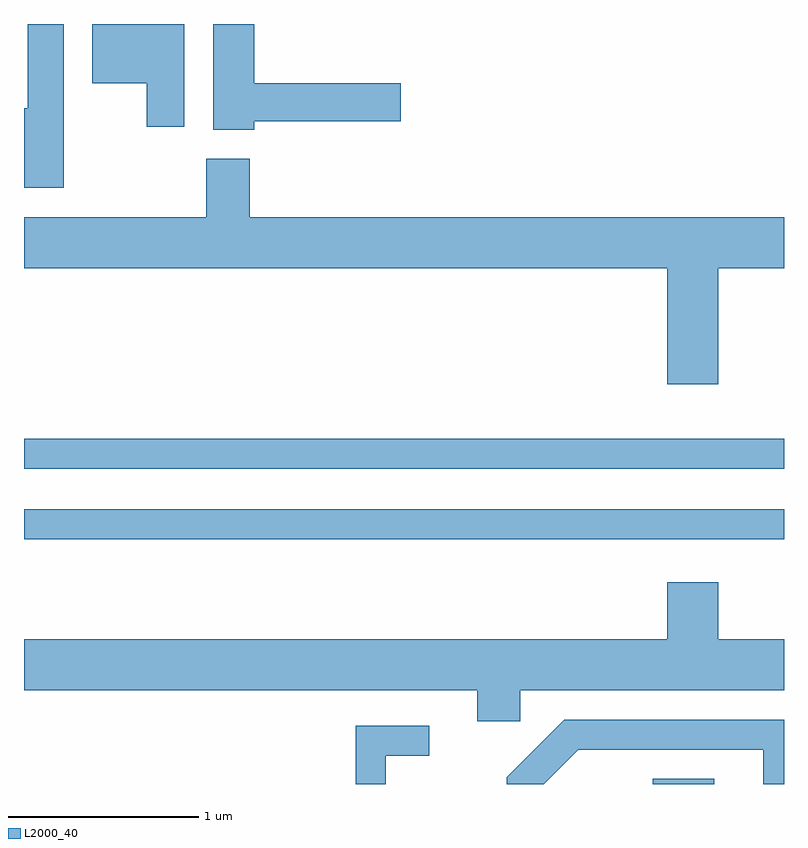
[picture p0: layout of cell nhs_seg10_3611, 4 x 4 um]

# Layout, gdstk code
import gdstk
lib = gdstk.Library(unit=1e-6, precision=1e-09)
def R(c, l, rs):  # rectangles x0, y0, x1, y1
    for r in rs: c.add(gdstk.rectangle(r[:2], r[2:], *l))
def P(c, l, *ps):  # polygons
    for p in ps: c.add(gdstk.Polygon(p, *l))
L2000_40 = (2000, 40)

nhs_seg10_3611 = lib.new_cell('nhs_seg10_3611')
R(nhs_seg10_3611, L2000_40, [(294.921,2124.522,295.243,2124.549), (291.611,2125.811,295.611,2125.969), (291.611,2126.181,295.611,2126.339)])
P(nhs_seg10_3611, L2000_40, [(292.454,2128.522),(291.971,2128.522),(291.971,2128.211),(292.256,2128.211),(292.256,2127.981),(292.454,2127.981)],
  [(291.819,2128.522),(291.631,2128.522),(291.631,2128.079),(291.611,2128.079),(291.611,2127.661),(291.819,2127.661)],
  [(292.824,2128.011),(293.594,2128.011),(293.594,2128.209),(292.824,2128.209),(292.824,2128.522),(292.606,2128.522),(292.606,2127.966),(292.824,2127.966)],
  [(295.264,2127.236),(295.611,2127.236),(295.611,2127.504),(292.799,2127.504),(292.799,2127.814),(292.571,2127.814),(292.571,2127.504),(291.611,2127.504),(291.611,2127.236),(294.996,2127.236),(294.996,2126.626),(295.264,2126.626)],
  [(294.224,2125.016),(295.611,2125.016),(295.611,2125.284),(295.264,2125.284),(295.264,2125.584),(294.996,2125.584),(294.996,2125.284),(291.611,2125.284),(291.611,2125.016),(293.996,2125.016),(293.996,2124.851),(294.224,2124.851)],
  [(294.527,2124.701),(295.501,2124.701),(295.501,2124.522),(295.611,2124.522),(295.611,2124.859),(294.454,2124.859),(294.151,2124.557),(294.151,2124.522),(294.347,2124.522)],
  [(293.514,2124.671),(293.743,2124.671),(293.743,2124.829),(293.356,2124.829),(293.356,2124.522),(293.514,2124.522)])

lib.write_gds('nhs_seg10_3611.gds')
